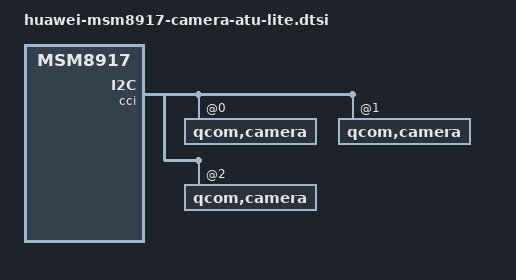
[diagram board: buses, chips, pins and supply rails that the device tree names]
/*
 * Copyright (c) 2015-2016, The Linux Foundation. All rights reserved.
 *
 * This program is free software; you can redistribute it and/or modify
 * it under the terms of the GNU General Public License version 2 and
 * only version 2 as published by the Free Software Foundation.
 *
 * This program is distributed in the hope that it will be useful,
 * but WITHOUT ANY WARRANTY; without even the implied warranty of
 * MERCHANTABILITY or FITNESS FOR A PARTICULAR PURPOSE.  See the
 * GNU General Public License for more details.
 */
#include "huawei-msm8917-camera-atu.dtsi"

&cci {
	qcom,camera@0 { //13M main back
		qcom,product-name = "Atomu_lite";
	};

	qcom,camera@1 { //Back aux camera
		qcom,product-name = "Atomu_lite";
	};

	qcom,camera@2 {//5M front
		qcom,product-name = "Atomu_lite";
	};
};
